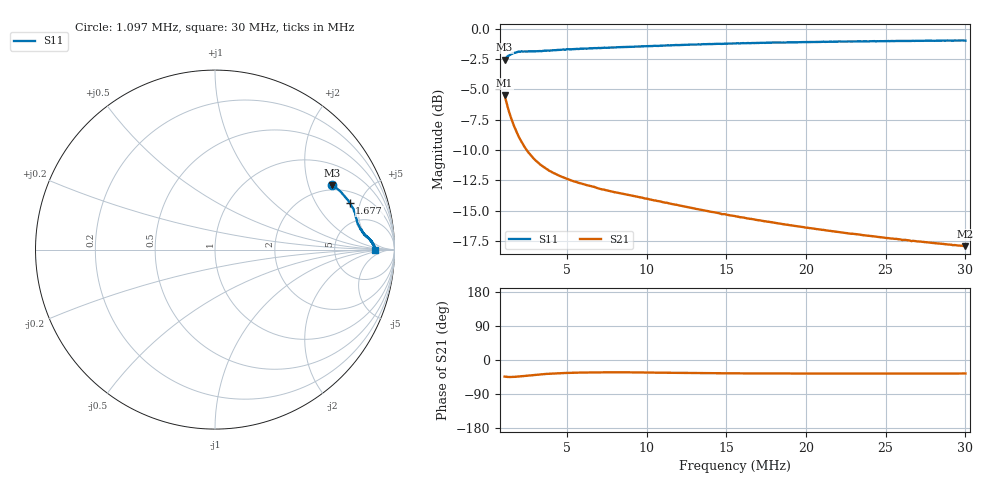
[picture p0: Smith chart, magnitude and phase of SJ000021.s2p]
!File created by NanoVNA-F V2
# Hz S RI R 50
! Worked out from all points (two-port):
!   300 points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, 1.097 MHz to 30 MHz, reference 50 ohm
!   highest |S21| = -5.48 dB at 1.097 MHz (marker M1); lowest = -17.9 dB at 30 MHz (marker M2)
!   |S21| within 3 dB of the highest: start of sweep to 1.841 MHz
!   lowest |S11| = -2.6 dB at 1.097 MHz (marker M3), VSWR 6.85, Z = 88.7 + j144 ohm
!   |S11| at or under -10 dB: nowhere
!   S12 and S22 are empty: the file has one direction only
!   S11 on the Smith chart (normalised r, x): 1.097 MHz: 1.77, +2.87; 1.677 MHz: 2.84, +4.00; 30 MHz: 18, -1
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1096666  0.6523 0.3602  0.3842 -0.3679  0 0  0 0
1289998  0.6993 0.324  0.3378 -0.3346  0 0  0 0
1483330  0.7295 0.2885  0.3065 -0.3049  0 0  0 0
1676662  0.7503 0.2601  0.2841 -0.2799  0 0  0 0
1966660  0.7726 0.2246  0.2613 -0.2487  0 0  0 0
2159992  0.7808 0.2041  0.2508 -0.2325  0 0  0 0
2449990  0.7855 0.1783  0.2379 -0.2115  0 0  0 0
2933320  0.7917 0.1544  0.2246 -0.1853  0 0  0 0
3319984  0.7967 0.1414  0.2175 -0.1701  0 0  0 0
4286644  0.8064 0.1215  0.2055 -0.1458  0 0  0 0
4769974  0.8139 0.1129  0.2015 -0.138  0 0  0 0
4866640  0.8115 0.1115  0.2005 -0.1368  0 0  0 0
5059972  0.8166 0.1104  0.1992 -0.1341  0 0  0 0
5929966  0.8218 0.1006  0.1926 -0.1258  0 0  0 0
7766620  0.8325 0.0835  0.1807 -0.1142  0 0  0 0
1.076327e7  0.8466 0.0698  0.1624 -0.1073  0 0  0 0
1.356658e7  0.8622 0.0588  0.1471 -0.1016  0 0  0 0
1.559657e7  0.8682 0.0486  0.1378 -0.0973  0 0  0 0
2.042987e7  0.8808 0.0274  0.1219 -0.0876  0 0  0 0
2.110653e7  0.8837 0.0282  0.1203 -0.0866  0 0  0 0
2.526317e7  0.8887 0.0112  0.111 -0.0799  0 0  0 0
2.99998e7  0.8932 -0.00375  0.1033 -0.074  0 0  0 0
